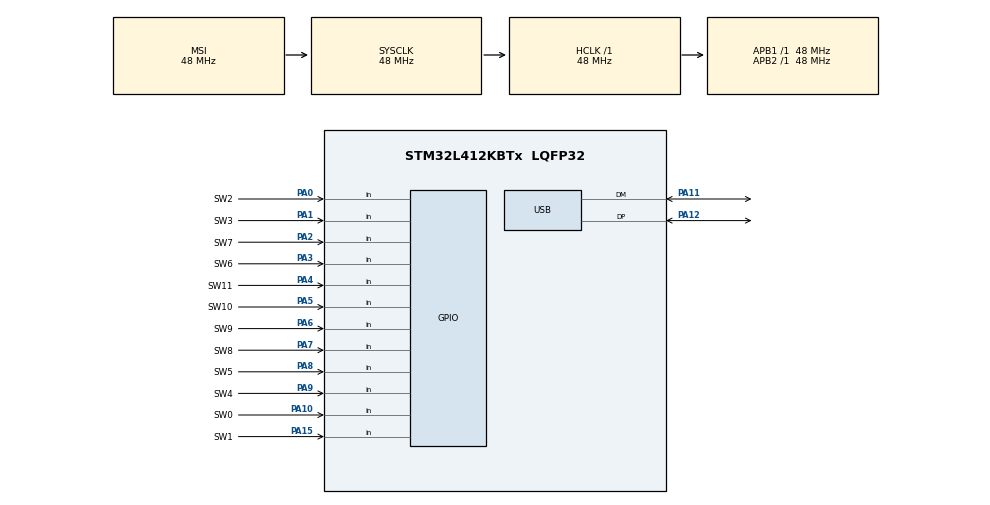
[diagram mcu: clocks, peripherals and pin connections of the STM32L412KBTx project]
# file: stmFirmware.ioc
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Mcu.Family=STM32L4
Mcu.Name=STM32L412KBTx
Mcu.Package=LQFP32
NVIC.PriorityGroup=NVIC_PRIORITYGROUP_4
NVIC.USB_IRQn=true\:0\:0\:false\:false\:true\:false\:true
PA0-CK_IN.GPIO_Label=SW2
PA0-CK_IN.Signal=GPIO_Input
PA1.GPIO_Label=SW3
PA1.Signal=GPIO_Input
PA10.GPIO_Label=SW0
PA10.Signal=GPIO_Input
PA11.Mode=Device
PA11.Signal=USB_DM
PA12.GPIO_PuPd=GPIO_PULLUP
PA12.Mode=Device
PA12.Signal=USB_DP
PA13\ (JTMS/SWDIO).Mode=Serial_Wire
PA13\ (JTMS/SWDIO).Signal=SYS_JTMS-SWDIO
PA14\ (JTCK/SWCLK).Mode=Serial_Wire
PA14\ (JTCK/SWCLK).Signal=SYS_JTCK-SWCLK
PA15\ (JTDI).GPIO_Label=SW1
PA15\ (JTDI).Signal=GPIO_Input
PA2.GPIO_Label=SW7
PA2.Signal=GPIO_Input
PA3.GPIO_Label=SW6
PA3.Signal=GPIO_Input
PA4.GPIO_Label=SW11
PA4.Signal=GPIO_Input
PA5.GPIO_Label=SW10
PA5.Signal=GPIO_Input
PA6.GPIO_Label=SW9
PA6.Signal=GPIO_Input
PA7.GPIO_Label=SW8
PA7.Signal=GPIO_Input
PA8.GPIO_Label=SW5
PA8.Signal=GPIO_Input
PA9.GPIO_Label=SW4
PA9.Signal=GPIO_Input
PC14-OSC32_IN\ (PC14).Mode=LSE-External-Clock-Source
PC14-OSC32_IN\ (PC14).Signal=RCC_OSC32_IN
ProjectManager.HeapSize=0x200
ProjectManager.StackSize=0x400
ProjectManager.TargetToolchain=MDK-ARM V5.27
RCC.ADCFreq_Value=48000000
RCC.AHBFreq_Value=48000000
RCC.APB1Freq_Value=48000000
RCC.APB1TimFreq_Value=48000000
RCC.APB2Freq_Value=48000000
RCC.APB2TimFreq_Value=48000000
RCC.CortexFreq_Value=48000000
RCC.HCLKFreq_Value=48000000
RCC.HSE_VALUE=8000000
RCC.HSI48_VALUE=48000000
RCC.HSI_VALUE=16000000
RCC.LSE_VALUE=32768
RCC.MSIClockRange=RCC_MSIRANGE_11
RCC.MSI_VALUE=48000000
RCC.PLLN=10
RCC.PLLR=RCC_PLLR_DIV6
RCC.SYSCLKFreq_VALUE=48000000
RCC.USBFreq_Value=48000000
RCC.VCOOutputFreq_Value=480000000
USB_DEVICE.CLASS_NAME_FS=CDC
USB_DEVICE.VirtualMode=Cdc
USB_DEVICE.VirtualModeFS=Cdc_FS
VP_USB_DEVICE_VS_USB_DEVICE_CDC_FS.Mode=CDC_FS
board=custom

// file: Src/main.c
/* USER CODE BEGIN Header */
/**
  ******************************************************************************
  * @file           : main.c
  * @brief          : Main program body
  ******************************************************************************
  * @attention
  *
  * <h2><center>&copy; Copyright (c) 2020 STMicroelectronics.
  * All rights reserved.</center></h2>
  *
  * This software component is licensed by ST under Ultimate Liberty license
  * SLA0044, the "License"; You may not use this file except in compliance with
  * the License. You may obtain a copy of the License at:
  *                             www.st.com/SLA0044
  *
  ******************************************************************************
  */
/* USER CODE END Header */
#include "main.h"
#include "usb_device.h"

/* USER CODE BEGIN Includes */
#include "usbd_cdc_if.h"
#include <stdbool.h>
/* USER CODE END Includes */

/* USER CODE BEGIN PV */
// saves the state of the old switch-state, used for sw-flank detection
bool btn_flank_flags[12] = {false};
uint32_t switch0_longpress_var = 0;
/* USER CODE END PV */

void SystemClock_Config(void);
static void MX_GPIO_Init(void);
/* USER CODE BEGIN PFP */
void update_btn_flank_flags(void);
void vcp_send_switch(uint8_t switchNr);
/* USER CODE END PFP */

int main(void)
{

  /* MCU Configuration--------------------------------------------------------*/

  /* Reset of all peripherals, Initializes the Flash interface and the Systick. */
  HAL_Init();

  /* Configure the system clock */
  SystemClock_Config();

  /* Initialize all configured peripherals */
  MX_GPIO_Init();
  MX_USB_DEVICE_Init();

  /* Infinite loop */
  /* USER CODE BEGIN WHILE */
  while (1)
  {
	// if switch is HIGH and before it was LOW eg. pos. Flank
	// send the switch number to vpc as "sXX" where XX = number of the switch

	// its a bit different for the first switch because it
	// also tracks a long press
	if(HAL_GPIO_ReadPin(SW0_GPIO_Port,SW0_Pin) == 1)
	{
		switch0_longpress_var++;
	}
	else
	{
		if(switch0_longpress_var >= 200)
		{
			vcp_send_switch(0);		// after pressing s1 for 2sec
			switch0_longpress_var = 0;
		}
		else if(switch0_longpress_var != 0)
		{
			vcp_send_switch(1);		// s1 was pressed < 2sec
			switch0_longpress_var = 0;
		}
	}
	// remaining 11 switches, only tracking pos. flank
	if(HAL_GPIO_ReadPin(SW1_GPIO_Port,SW1_Pin) && !btn_flank_flags[1])
		vcp_send_switch(2);
	if(HAL_GPIO_ReadPin(SW2_GPIO_Port,SW2_Pin) && !btn_flank_flags[2])
		vcp_send_switch(3);
	if(HAL_GPIO_ReadPin(SW3_GPIO_Port,SW3_Pin) && !btn_flank_flags[3])
		vcp_send_switch(4);
	if(HAL_GPIO_ReadPin(SW4_GPIO_Port,SW4_Pin) && !btn_flank_flags[4])
		vcp_send_switch(5);
	if(HAL_GPIO_ReadPin(SW5_GPIO_Port,SW5_Pin) && !btn_flank_flags[5])
		vcp_send_switch(6);
	if(HAL_GPIO_ReadPin(SW6_GPIO_Port,SW6_Pin) && !btn_flank_flags[6])
		vcp_send_switch(7);
	if(HAL_GPIO_ReadPin(SW7_GPIO_Port,SW7_Pin) && !btn_flank_flags[7])
		vcp_send_switch(8);
	if(HAL_GPIO_ReadPin(SW8_GPIO_Port,SW8_Pin) && !btn_flank_flags[8])
		vcp_send_switch(9);
	if(HAL_GPIO_ReadPin(SW9_GPIO_Port,SW9_Pin) && !btn_flank_flags[9])
		vcp_send_switch(10);
	if(HAL_GPIO_ReadPin(SW10_GPIO_Port,SW10_Pin) && !btn_flank_flags[10])
		vcp_send_switch(11);
	if(HAL_GPIO_ReadPin(SW11_GPIO_Port,SW11_Pin) && !btn_flank_flags[11])
		vcp_send_switch(12);

	update_btn_flank_flags();	// save the new states

	HAL_Delay(10); 			// wait 10ms
    /* USER CODE END WHILE */

  }
}

void SystemClock_Config(void)
{
  RCC_OscInitTypeDef RCC_OscInitStruct = {0};
  RCC_ClkInitTypeDef RCC_ClkInitStruct = {0};
  RCC_PeriphCLKInitTypeDef PeriphClkInit = {0};

  /** Configure the main internal regulator output voltage
  */
  if (HAL_PWREx_ControlVoltageScaling(PWR_REGULATOR_VOLTAGE_SCALE1) != HAL_OK)
  {
    Error_Handler();
  }
  /** Initializes the RCC Oscillators according to the specified parameters
  * in the RCC_OscInitTypeDef structure.
  */
  RCC_OscInitStruct.OscillatorType = RCC_OSCILLATORTYPE_LSE|RCC_OSCILLATORTYPE_MSI;
  RCC_OscInitStruct.LSEState = RCC_LSE_BYPASS;
  RCC_OscInitStruct.MSIState = RCC_MSI_ON;
  RCC_OscInitStruct.MSICalibrationValue = 0;
  RCC_OscInitStruct.MSIClockRange = RCC_MSIRANGE_11;
  RCC_OscInitStruct.PLL.PLLState = RCC_PLL_NONE;
  if (HAL_RCC_OscConfig(&RCC_OscInitStruct) != HAL_OK)
  {
    Error_Handler();
  }
  /** Initializes the CPU, AHB and APB buses clocks
  */
  RCC_ClkInitStruct.ClockType = RCC_CLOCKTYPE_HCLK|RCC_CLOCKTYPE_SYSCLK
                              |RCC_CLOCKTYPE_PCLK1|RCC_CLOCKTYPE_PCLK2;
  RCC_ClkInitStruct.SYSCLKSource = RCC_SYSCLKSOURCE_MSI;
  RCC_ClkInitStruct.AHBCLKDivider = RCC_SYSCLK_DIV1;
  RCC_ClkInitStruct.APB1CLKDivider = RCC_HCLK_DIV1;
  RCC_ClkInitStruct.APB2CLKDivider = RCC_HCLK_DIV1;

  if (HAL_RCC_ClockConfig(&RCC_ClkInitStruct, FLASH_LATENCY_2) != HAL_OK)
  {
    Error_Handler();
  }
  PeriphClkInit.PeriphClockSelection = RCC_PERIPHCLK_USB;
  PeriphClkInit.UsbClockSelection = RCC_USBCLKSOURCE_MSI;
  if (HAL_RCCEx_PeriphCLKConfig(&PeriphClkInit) != HAL_OK)
  {
    Error_Handler();
  }
  /** Enable MSI Auto calibration
  */
  HAL_RCCEx_EnableMSIPLLMode();
}

static void MX_GPIO_Init(void)
{
  GPIO_InitTypeDef GPIO_InitStruct = {0};

  /* GPIO Ports Clock Enable */
  __HAL_RCC_GPIOC_CLK_ENABLE();
  __HAL_RCC_GPIOA_CLK_ENABLE();

  /*Configure GPIO pins : SW2_Pin SW3_Pin SW7_Pin SW6_Pin
                           SW11_Pin SW10_Pin SW9_Pin SW8_Pin
                           SW5_Pin SW4_Pin SW0_Pin SW1_Pin */
  GPIO_InitStruct.Pin = SW2_Pin|SW3_Pin|SW7_Pin|SW6_Pin
                          |SW11_Pin|SW10_Pin|SW9_Pin|SW8_Pin
                          |SW5_Pin|SW4_Pin|SW0_Pin|SW1_Pin;
  GPIO_InitStruct.Mode = GPIO_MODE_INPUT;
  GPIO_InitStruct.Pull = GPIO_NOPULL;
  HAL_GPIO_Init(GPIOA, &GPIO_InitStruct);

}

/* USER CODE BEGIN 4 */
/**
  * @brief Reads the GPIO states of the switches and saves them in a global array
  * @param None
  * @retval None
  */
void update_btn_flank_flags(void)
{
	btn_flank_flags[0] = HAL_GPIO_ReadPin(SW0_GPIO_Port,SW0_Pin);
	btn_flank_flags[1] = HAL_GPIO_ReadPin(SW1_GPIO_Port,SW1_Pin);
	btn_flank_flags[2] = HAL_GPIO_ReadPin(SW2_GPIO_Port,SW2_Pin);
	btn_flank_flags[3] = HAL_GPIO_ReadPin(SW3_GPIO_Port,SW3_Pin);
	btn_flank_flags[4] = HAL_GPIO_ReadPin(SW4_GPIO_Port,SW4_Pin);
	btn_flank_flags[5] = HAL_GPIO_ReadPin(SW5_GPIO_Port,SW5_Pin);
	btn_flank_flags[6] = HAL_GPIO_ReadPin(SW6_GPIO_Port,SW6_Pin);
	btn_flank_flags[7] = HAL_GPIO_ReadPin(SW7_GPIO_Port,SW7_Pin);
	btn_flank_flags[8] = HAL_GPIO_ReadPin(SW8_GPIO_Port,SW8_Pin);
	btn_flank_flags[9] = HAL_GPIO_ReadPin(SW9_GPIO_Port,SW9_Pin);
	btn_flank_flags[10] = HAL_GPIO_ReadPin(SW10_GPIO_Port,SW10_Pin);
	btn_flank_flags[11] = HAL_GPIO_ReadPin(SW11_GPIO_Port,SW11_Pin);
}

/**
  * @brief sends the string to the vcp
  * @param switchNr: Number of the switch
  * @retval None
  */
void vcp_send_switch(uint8_t switchNr)
{
	char buffer[3] = "";			// define buffer
	sprintf(buffer,"s%02d",switchNr);	// generate string
	CDC_Transmit_FS((uint8_t*)buffer,3);	// send to vcp
}
/* USER CODE END 4 */

void Error_Handler(void)
{
}

/************************ (C) COPYRIGHT STMicroelectronics *****END OF FILE****/
